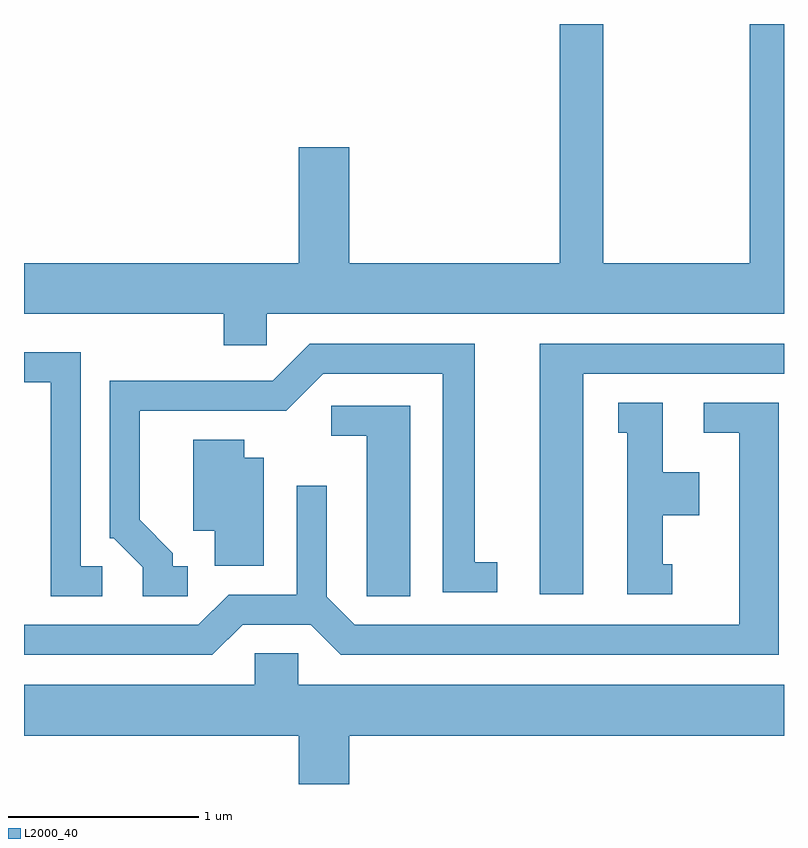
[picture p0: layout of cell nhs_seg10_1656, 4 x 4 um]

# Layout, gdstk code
import gdstk
lib = gdstk.Library(unit=1e-6, precision=1e-09)
def P(c, l, *ps):  # polygons
    for p in ps: c.add(gdstk.Polygon(p, *l))
L2000_40 = (2000, 40)

nhs_seg10_1656 = lib.new_cell('nhs_seg10_1656')
P(nhs_seg10_1656, L2000_40, [(234.889,2144.996),(237.611,2144.996),(237.611,2146.522),(237.431,2146.522),(237.431,2145.264),(236.659,2145.264),(236.659,2146.522),(236.431,2146.522),(236.431,2145.264),(235.324,2145.264),(235.324,2145.874),(235.056,2145.874),(235.056,2145.264),(233.611,2145.264),(233.611,2144.996),(234.661,2144.996),(234.661,2144.831),(234.889,2144.831)],
  [(236.554,2144.681),(237.611,2144.681),(237.611,2144.839),(236.326,2144.839),(236.326,2143.521),(236.554,2143.521)],
  [(234.473,2143.669),(234.394,2143.669),(234.394,2143.737),(234.219,2143.912),(234.219,2144.486),(234.992,2144.486),(235.187,2144.681),(235.816,2144.681),(235.816,2143.531),(236.103,2143.531),(236.103,2143.689),(235.984,2143.689),(235.984,2144.839),(235.114,2144.839),(234.919,2144.644),(234.061,2144.644),(234.061,2143.816),(234.084,2143.816),(234.236,2143.664),(234.236,2143.511),(234.473,2143.511)],
  [(234.023,2143.669),(233.909,2143.669),(233.909,2144.794),(233.611,2144.794),(233.611,2144.636),(233.751,2144.636),(233.751,2143.511),(234.023,2143.511)],
  [(234.762,2143.361),(235.119,2143.361),(235.279,2143.201),(237.584,2143.201),(237.584,2144.529),(237.188,2144.529),(237.188,2144.371),(237.376,2144.371),(237.376,2143.359),(235.352,2143.359),(235.204,2143.507),(235.204,2144.093),(235.046,2144.093),(235.046,2143.519),(234.689,2143.519),(234.529,2143.359),(233.611,2143.359),(233.611,2143.201),(234.602,2143.201)],
  [(237.023,2143.679),(236.974,2143.679),(236.974,2143.936),(237.164,2143.936),(237.164,2144.164),(236.974,2144.164),(236.974,2144.529),(236.738,2144.529),(236.738,2144.371),(236.786,2144.371),(236.786,2143.521),(237.023,2143.521)],
  [(235.644,2144.514),(235.228,2144.514),(235.228,2144.356),(235.416,2144.356),(235.416,2143.511),(235.644,2143.511)],
  [(234.874,2144.239),(234.769,2144.239),(234.769,2144.334),(234.501,2144.334),(234.501,2143.856),(234.616,2143.856),(234.616,2143.671),(234.874,2143.671)],
  [(235.324,2142.776),(237.611,2142.776),(237.611,2143.044),(235.054,2143.044),(235.054,2143.209),(234.826,2143.209),(234.826,2143.044),(233.611,2143.044),(233.611,2142.776),(235.056,2142.776),(235.056,2142.522),(235.324,2142.522)])

lib.write_gds('nhs_seg10_1656.gds')
